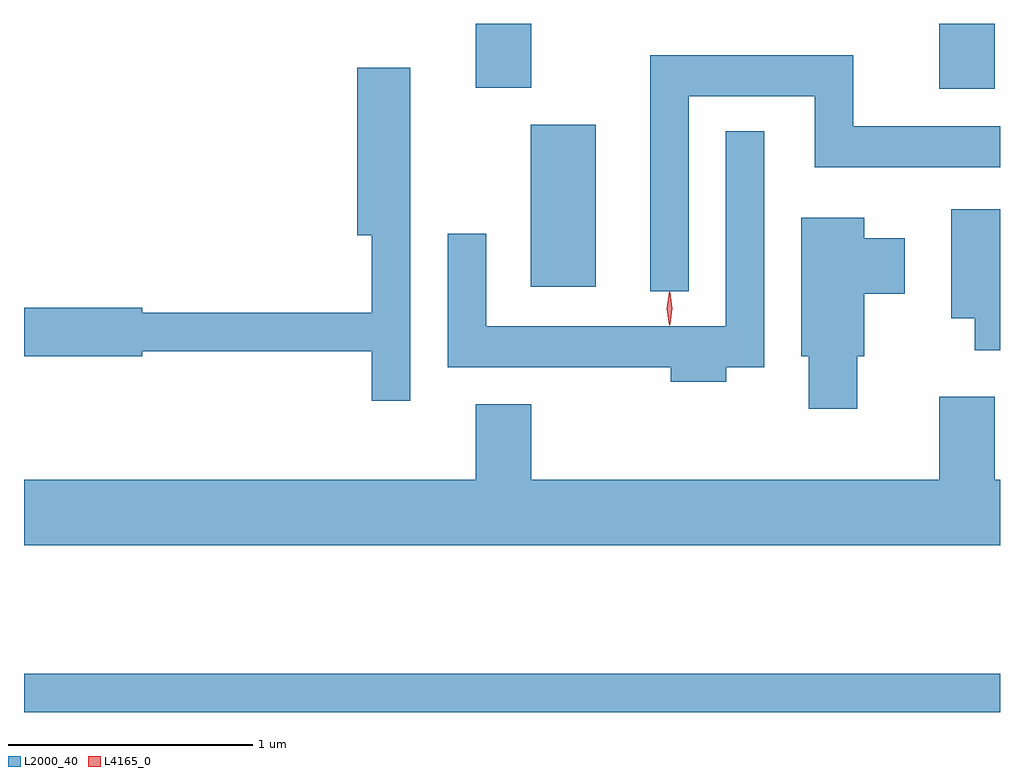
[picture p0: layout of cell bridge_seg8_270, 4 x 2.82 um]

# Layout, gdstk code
import gdstk
lib = gdstk.Library(unit=1e-6, precision=1e-09)
def R(c, l, rs):  # rectangles x0, y0, x1, y1
    for r in rs: c.add(gdstk.rectangle(r[:2], r[2:], *l))
def P(c, l, *ps):  # polygons
    for p in ps: c.add(gdstk.Polygon(p, *l))
L2000_40 = (2000, 40)
L4165_0 = (4165, 0)

bridge_seg8_270 = lib.new_cell('bridge_seg8_270')
R(bridge_seg8_270, L2000_40, [(1315.42,1813.531,1319.42,1813.689), (1317.496,1815.276,1317.764,1815.939), (1319.171,1816.086,1319.399,1816.354), (1317.271,1816.091,1317.499,1816.354)])
P(bridge_seg8_270, L2000_40, [(1318.144,1816.056),(1318.661,1816.056),(1318.661,1815.766),(1319.42,1815.766),(1319.42,1815.934),(1318.819,1815.934),(1318.819,1816.224),(1317.986,1816.224),(1317.986,1815.258),(1318.144,1815.258)],
  [(1317.004,1816.174),(1316.786,1816.174),(1316.786,1815.486),(1316.846,1815.486),(1316.846,1815.169),(1315.904,1815.169),(1315.904,1815.189),(1315.42,1815.189),(1315.42,1814.991),(1315.904,1814.991),(1315.904,1815.011),(1316.846,1815.011),(1316.846,1814.808),(1317.004,1814.808)],
  [(1318.299,1814.946),(1318.454,1814.946),(1318.454,1815.913),(1318.296,1815.913),(1318.296,1815.114),(1317.314,1815.114),(1317.314,1815.493),(1317.156,1815.493),(1317.156,1814.946),(1318.071,1814.946),(1318.071,1814.886),(1318.299,1814.886)],
  [(1319.42,1815.594),(1319.221,1815.594),(1319.221,1815.146),(1319.316,1815.146),(1319.316,1815.016),(1319.42,1815.016)],
  [(1318.834,1814.991),(1318.864,1814.991),(1318.864,1815.246),(1319.029,1815.246),(1319.029,1815.474),(1318.864,1815.474),(1318.864,1815.559),(1318.606,1815.559),(1318.606,1814.991),(1318.636,1814.991),(1318.636,1814.776),(1318.834,1814.776)],
  [(1319.42,1814.484),(1319.399,1814.484),(1319.399,1814.824),(1319.171,1814.824),(1319.171,1814.484),(1317.499,1814.484),(1317.499,1814.794),(1317.271,1814.794),(1317.271,1814.484),(1315.42,1814.484),(1315.42,1814.216),(1319.42,1814.216)])
P(bridge_seg8_270, L4165_0, [(1318.067,1815.119),(1318.066,1815.12),(1318.057,1815.186),(1318.066,1815.252),(1318.067,1815.253),(1318.068,1815.252),(1318.077,1815.186),(1318.068,1815.12)],
  [(1318.064,1815.117),(1318.055,1815.186),(1318.064,1815.256),(1318.065,1815.256),(1318.065,1815.256),(1318.075,1815.186),(1318.065,1815.117),(1318.065,1815.117)])

lib.write_gds('bridge_seg8_270.gds')
